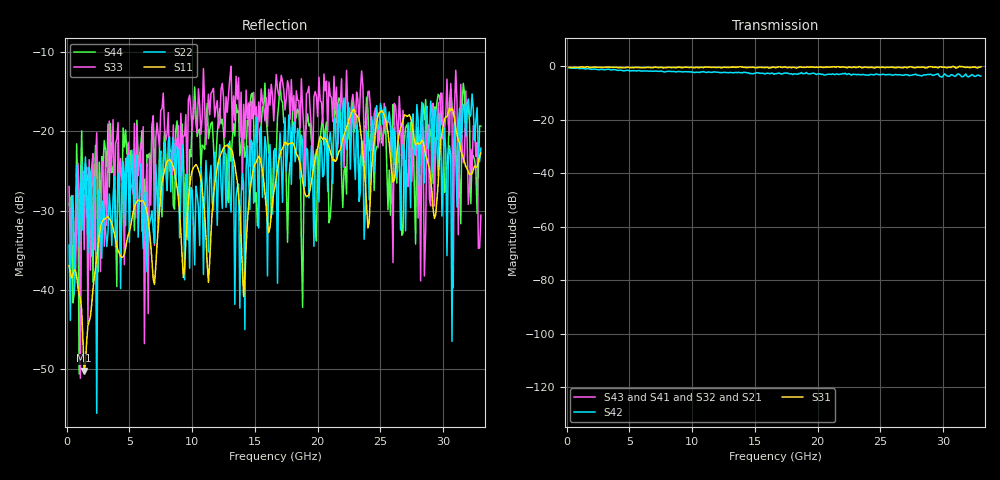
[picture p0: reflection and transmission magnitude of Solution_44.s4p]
# GHZ S RI R 50
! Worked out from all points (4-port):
!   329 points, 200 MHz to 33 GHz, reference 50 ohm
!   strongest paths, dB at 200 MHz, 8.4 GHz, 16.6 GHz, 24.8 GHz, 33 GHz:
!     S31: -0.4, -0.4, -0.4, -0.3, -0.1
!     S42: -0.5, -1.9, -2.7, -3.0, -3.6
!     S43: -, -, -, -, -
!     S41: -, -, -, -, -
!     S32: -, -, -, -, -
!     S21: -, -, -, -, -
!   lowest |S11| = -50.2 dB at 1.4 GHz (marker M1), VSWR 1.01, Z = 50.3 - j0.0331 ohm
!   |S11| at or under -10 dB: start of sweep to end of sweep
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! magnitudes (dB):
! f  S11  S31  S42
! 200 MHz  -36.9  -0.4  -0.5
! 1.4 GHz  -50.2  -0.4  -0.8
! 2.4 GHz  -36.0  -0.3  -1.1
! 2.5 GHz  -34.5  -0.3  -1.2
! 5.2 GHz  -31.0  -0.5  -1.6
! 30.7 GHz  -17.1  -0.1  -3.1
! 33 GHz  -22.7  -0.1  -3.6
